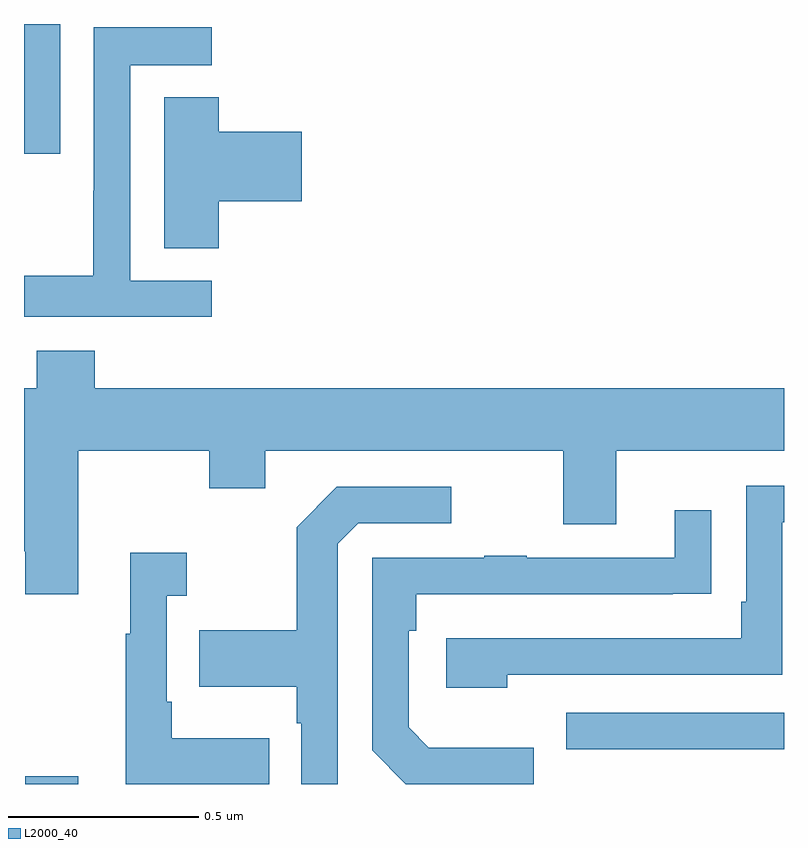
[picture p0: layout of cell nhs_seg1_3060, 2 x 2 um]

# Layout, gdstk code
import gdstk
lib = gdstk.Library(unit=1e-6, precision=1e-09)
def R(c, l, rs):  # rectangles x0, y0, x1, y1
    for r in rs: c.add(gdstk.rectangle(r[:2], r[2:], *l))
def P(c, l, *ps):  # polygons
    for p in ps: c.add(gdstk.Polygon(p, *l))
L2000_40 = (2000, 40)

nhs_seg1_3060 = lib.new_cell('nhs_seg1_3060')
R(nhs_seg1_3060, L2000_40, [(149.003,540.199,149.143,540.22), (150.427,540.291,151,540.387), (149,541.857,149.095,542.199)])
P(nhs_seg1_3060, L2000_40, [(149.494,541.524),(149.28,541.524),(149.28,542.091),(149.494,542.091),(149.494,542.19),(149.184,542.19),(149.184,541.76),(149.182,541.76),(149.182,541.537),(149,541.537),(149,541.428),(149.494,541.428)],
  [(149.513,541.733),(149.731,541.733),(149.731,541.916),(149.513,541.916),(149.513,542.006),(149.369,542.006),(149.369,541.609),(149.513,541.609)],
  [(149.143,541.076),(149.488,541.076),(149.488,540.977),(149.635,540.977),(149.635,541.076),(150.419,541.076),(150.419,540.882),(150.559,540.882),(150.559,541.076),(151,541.076),(151,541.24),(149.186,541.24),(149.186,541.339),(149.033,541.339),(149.033,541.24),(149,541.24),(149,540.811),(149.003,540.811),(149.003,540.699),(149.143,540.699)],
  [(150.272,540.486),(150.996,540.486),(150.996,540.888),(151,540.888),(151,540.984),(150.9,540.984),(150.9,540.679),(150.887,540.679),(150.887,540.582),(150.111,540.582),(150.111,540.452),(150.272,540.452)],
  [(149.826,540.831),(149.88,540.885),(150.124,540.885),(150.124,540.981),(149.823,540.981),(149.718,540.875),(149.718,540.603),(149.461,540.603),(149.461,540.455),(149.718,540.455),(149.718,540.359),(149.73,540.359),(149.73,540.199),(149.826,540.199)],
  [(150.342,540.295),(150.065,540.295),(150.012,540.348),(150.012,540.602),(150.032,540.602),(150.032,540.699),(150.707,540.699),(150.707,540.7),(150.809,540.7),(150.809,540.919),(150.713,540.919),(150.713,540.795),(150.323,540.795),(150.323,540.8),(150.211,540.8),(150.211,540.795),(149.916,540.795),(149.916,540.288),(150.005,540.199),(150.342,540.199)],
  [(149.645,540.319),(149.389,540.319),(149.389,540.415),(149.376,540.415),(149.376,540.695),(149.428,540.695),(149.428,540.808),(149.279,540.808),(149.279,540.595),(149.268,540.595),(149.268,540.199),(149.645,540.199)])

lib.write_gds('nhs_seg1_3060.gds')
